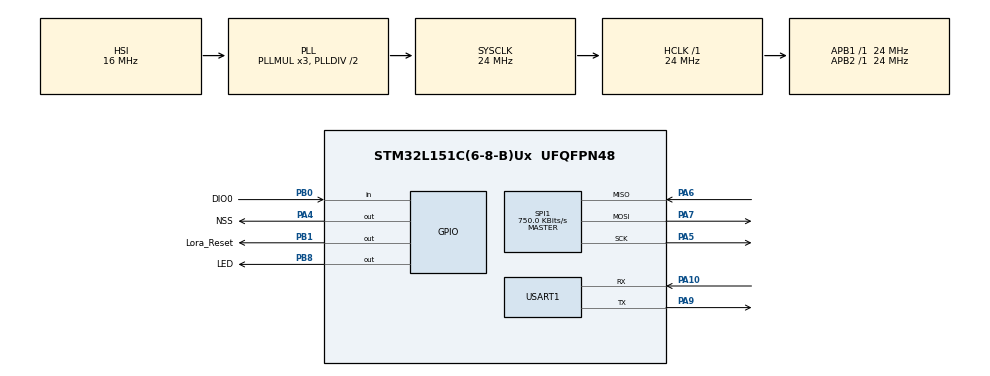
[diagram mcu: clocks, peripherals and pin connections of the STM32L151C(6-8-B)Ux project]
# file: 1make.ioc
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Mcu.Family=STM32L1
Mcu.Name=STM32L151C(6-8-B)Ux
Mcu.Package=UFQFPN48
NVIC.PriorityGroup=NVIC_PRIORITYGROUP_4
PA10.Mode=Asynchronous
PA10.Signal=USART1_RX
PA4.GPIO_Label=NSS
PA4.Signal=GPIO_Output
PA5.Mode=Full_Duplex_Master
PA5.Signal=SPI1_SCK
PA6.Mode=Full_Duplex_Master
PA6.Signal=SPI1_MISO
PA7.Mode=Full_Duplex_Master
PA7.Signal=SPI1_MOSI
PA9.Mode=Asynchronous
PA9.Signal=USART1_TX
PB0.GPIO_Label=DIO0
PB0.Signal=GPIO_Input
PB1.GPIO_Label=Lora_Reset
PB1.Signal=GPIO_Output
PB8.GPIO_Label=LED
PB8.Signal=GPIO_Output
ProjectManager.HeapSize=0x200
ProjectManager.StackSize=0x400
ProjectManager.TargetToolchain=Makefile
RCC.AHBFreq_Value=24000000
RCC.APB1Freq_Value=24000000
RCC.APB1TimFreq_Value=24000000
RCC.APB2Freq_Value=24000000
RCC.APB2TimFreq_Value=24000000
RCC.HCLKFreq_Value=24000000
RCC.HSE_VALUE=24000000
RCC.HSI_VALUE=16000000
RCC.LSE_VALUE=32768
RCC.MSI_VALUE=2097000
RCC.SYSCLKFreq_VALUE=24000000
RCC.SYSCLKSource=RCC_SYSCLKSOURCE_PLLCLK
RCC.VCOOutputFreq_Value=48000000
SPI1.BaudRatePrescaler=SPI_BAUDRATEPRESCALER_32
SPI1.CalculateBaudRate=750.0 KBits/s
SPI1.Direction=SPI_DIRECTION_2LINES
SPI1.Mode=SPI_MODE_MASTER
SPI1.VirtualType=VM_MASTER
USART1.VirtualMode=VM_ASYNC
board=custom

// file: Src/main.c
/* USER CODE BEGIN Header */
/**
  ******************************************************************************
  * @file           : main.c
  * @brief          : Main program body
  ******************************************************************************
  ** This notice applies to any and all portions of this file
  * that are not between comment pairs USER CODE BEGIN and
  * USER CODE END. Other portions of this file, whether
  * inserted by the user or by software development tools
  * are owned by their respective copyright owners.
  *
  * COPYRIGHT(c) 2021 STMicroelectronics
  *
  * Redistribution and use in source and binary forms, with or without modification,
  * are permitted provided that the following conditions are met:
  *   1. Redistributions of source code must retain the above copyright notice,
  *      this list of conditions and the following disclaimer.
  *   2. Redistributions in binary form must reproduce the above copyright notice,
  *      this list of conditions and the following disclaimer in the documentation
  *      and/or other materials provided with the distribution.
  *   3. Neither the name of STMicroelectronics nor the names of its contributors
  *      may be used to endorse or promote products derived from this software
  *      without specific prior written permission.
  *
  * THIS SOFTWARE IS PROVIDED BY THE COPYRIGHT HOLDERS AND CONTRIBUTORS "AS IS"
  * AND ANY EXPRESS OR IMPLIED WARRANTIES, INCLUDING, BUT NOT LIMITED TO, THE
  * IMPLIED WARRANTIES OF MERCHANTABILITY AND FITNESS FOR A PARTICULAR PURPOSE ARE
  * DISCLAIMED. IN NO EVENT SHALL THE COPYRIGHT HOLDER OR CONTRIBUTORS BE LIABLE
  * FOR ANY DIRECT, INDIRECT, INCIDENTAL, SPECIAL, EXEMPLARY, OR CONSEQUENTIAL
  * DAMAGES (INCLUDING, BUT NOT LIMITED TO, PROCUREMENT OF SUBSTITUTE GOODS OR
  * SERVICES; LOSS OF USE, DATA, OR PROFITS; OR BUSINESS INTERRUPTION) HOWEVER
  * CAUSED AND ON ANY THEORY OF LIABILITY, WHETHER IN CONTRACT, STRICT LIABILITY,
  * OR TORT (INCLUDING NEGLIGENCE OR OTHERWISE) ARISING IN ANY WAY OUT OF THE USE
  * OF THIS SOFTWARE, EVEN IF ADVISED OF THE POSSIBILITY OF SUCH DAMAGE.
  *
  ******************************************************************************
  */
/* USER CODE END Header */

#include "main.h"
#include "spi.h"
#include "usart.h"
#include "gpio.h"

/* USER CODE BEGIN Includes */
#include "SX1278.h"
#include <stdlib.h>
/* USER CODE END Includes */

/* USER CODE BEGIN PD */
#define master 0
/* USER CODE END PD */

/* USER CODE BEGIN PV */
SX1278_hw_t SX1278_hw;
SX1278_t SX1278;
/* USER CODE END PV */

void SystemClock_Config(void);
/* USER CODE BEGIN PFP */
void sentF(char *msg, int len);
#define sent(msg) sentF((msg), sizeof((msg)) - 1)
/* USER CODE END PFP */

int main(void)
{

  /* MCU Configuration--------------------------------------------------------*/

  /* Reset of all peripherals, Initializes the Flash interface and the Systick. */
  HAL_Init();

  /* Configure the system clock */
  SystemClock_Config();

  /* Initialize all configured peripherals */
  MX_GPIO_Init();
  MX_SPI1_Init();
  MX_USART1_UART_Init();
  /* USER CODE BEGIN 2 */
  HAL_GPIO_WritePin(LED_GPIO_Port, LED_Pin, GPIO_PIN_RESET);

  SX1278_hw.dio0.pin = DIO0_Pin;
  SX1278_hw.dio0.port = DIO0_GPIO_Port;
  SX1278_hw.nss.pin = NSS_Pin;
  SX1278_hw.nss.port = NSS_GPIO_Port;
  SX1278_hw.reset.pin = Lora_Reset_Pin;
  SX1278_hw.reset.port = Lora_Reset_GPIO_Port;
  SX1278_hw.spi = (void *)&hspi1;

  SX1278.hw = &SX1278_hw;
  SX1278_init(&SX1278, 433000000, SX1278_POWER_14DBM, SX1278_LORA_SF_12,
	          SX1278_LORA_BW_125KHZ, SX1278_LORA_CR_4_5, SX1278_LORA_CRC_DIS, 10);
  int ret;
  if (master == 1)
      ret = SX1278_LoRaEntryTx(&SX1278, 4, 2000);
  else
      ret = SX1278_LoRaEntryRx(&SX1278, 4, 2000);

  HAL_GPIO_WritePin(LED_GPIO_Port, LED_Pin, ret);
  if(ret != 1){
	  while(1){
		  HAL_UART_Transmit(&huart1, (uint8_t *) &ret, sizeof(ret), 100);
		  HAL_GPIO_TogglePin(LED_GPIO_Port, LED_Pin);
		  HAL_Delay(200);
	  }
  }
  uint8_t buf[4];

  /* USER CODE END 2 */

  /* Infinite loop */
  /* USER CODE BEGIN WHILE */
  while (1)
  {
	  if(master == 1){
		  SX1278_LoRaEntryTx(&SX1278, 4, 2000);

		  buf[0] = rand() % 256;
		  buf[1] = rand() % 256;
		  buf[2] = rand() % 256;
		  buf[3] = rand() % 256;
		  SX1278_LoRaTxPacket(&SX1278, (uint8_t *)buf, 4, 2000);

		  SX1278_LoRaEntryRx(&SX1278, 4, 2000);

		  int timeout = 1000;

		  while(SX1278_LoRaRxPacket(&SX1278) == 0 && timeout > 0){
			  timeout--;
			  HAL_Delay(1);
		  }

		  uint8_t buf1[4];
		  SX1278_read(&SX1278, (uint8_t *)buf1, 4);
		  bool test = true;
		  for(int i = 0; i < 4; i++){
			  if(buf1[i] != buf[i]) test = false;
		  }

		  if(test) HAL_GPIO_WritePin(LED_GPIO_Port, LED_Pin, 1);
		  else HAL_GPIO_WritePin(LED_GPIO_Port, LED_Pin, 0);

		  HAL_Delay(200);
	  }

	  else {
		  SX1278_LoRaEntryRx(&SX1278, 4, 2000);
		  while(SX1278_LoRaRxPacket(&SX1278) == 0);

		  SX1278_read(&SX1278, (uint8_t *)buf, 4);
		  SX1278_LoRaEntryTx(&SX1278, 4, 2000);
		  SX1278_LoRaTxPacket(&SX1278, (uint8_t *)buf, 4, 2000);

	  }
    /* USER CODE END WHILE */

  }
}

void SystemClock_Config(void)
{
  RCC_OscInitTypeDef RCC_OscInitStruct = {0};
  RCC_ClkInitTypeDef RCC_ClkInitStruct = {0};

  /**Configure the main internal regulator output voltage
  */
  __HAL_PWR_VOLTAGESCALING_CONFIG(PWR_REGULATOR_VOLTAGE_SCALE1);
  /**Initializes the CPU, AHB and APB busses clocks
  */
  RCC_OscInitStruct.OscillatorType = RCC_OSCILLATORTYPE_HSI;
  RCC_OscInitStruct.HSIState = RCC_HSI_ON;
  RCC_OscInitStruct.HSICalibrationValue = RCC_HSICALIBRATION_DEFAULT;
  RCC_OscInitStruct.PLL.PLLState = RCC_PLL_ON;
  RCC_OscInitStruct.PLL.PLLSource = RCC_PLLSOURCE_HSI;
  RCC_OscInitStruct.PLL.PLLMUL = RCC_PLL_MUL3;
  RCC_OscInitStruct.PLL.PLLDIV = RCC_PLL_DIV2;
  if (HAL_RCC_OscConfig(&RCC_OscInitStruct) != HAL_OK)
  {
    Error_Handler();
  }
  /**Initializes the CPU, AHB and APB busses clocks
  */
  RCC_ClkInitStruct.ClockType = RCC_CLOCKTYPE_HCLK|RCC_CLOCKTYPE_SYSCLK
                              |RCC_CLOCKTYPE_PCLK1|RCC_CLOCKTYPE_PCLK2;
  RCC_ClkInitStruct.SYSCLKSource = RCC_SYSCLKSOURCE_PLLCLK;
  RCC_ClkInitStruct.AHBCLKDivider = RCC_SYSCLK_DIV1;
  RCC_ClkInitStruct.APB1CLKDivider = RCC_HCLK_DIV1;
  RCC_ClkInitStruct.APB2CLKDivider = RCC_HCLK_DIV1;

  if (HAL_RCC_ClockConfig(&RCC_ClkInitStruct, FLASH_LATENCY_1) != HAL_OK)
  {
    Error_Handler();
  }
}

/* USER CODE BEGIN 4 */
void sentF(char *msg, int len){
	HAL_UART_Transmit(&huart1, (uint8_t *)msg, len, 100);
}
/* USER CODE END 4 */

void Error_Handler(void)
{
}

/************************ (C) COPYRIGHT STMicroelectronics *****END OF FILE****/
